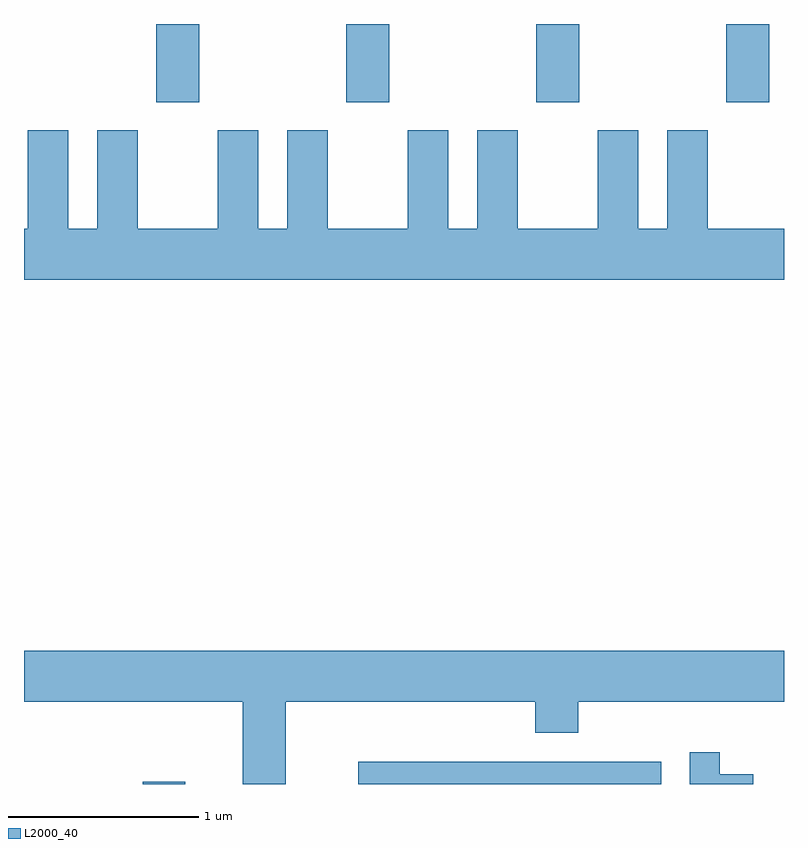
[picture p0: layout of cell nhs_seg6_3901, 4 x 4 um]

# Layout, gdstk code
import gdstk
lib = gdstk.Library(unit=1e-6, precision=1e-09)
def R(c, l, rs):  # rectangles x0, y0, x1, y1
    for r in rs: c.add(gdstk.rectangle(r[:2], r[2:], *l))
def A(c, l, x, y, w, h, nx, ny, dx, dy):  # array of equal rectangles
    R(c, l, [(x+i*dx, y+j*dy, x+i*dx+w, y+j*dy+h) for i in range(nx) for j in range(ny)])
def P(c, l, *ps):  # polygons
    for p in ps: c.add(gdstk.Polygon(p, *l))
L2000_40 = (2000, 40)

nhs_seg6_3901 = lib.new_cell('nhs_seg6_3901')
A(nhs_seg6_3901, L2000_40, 302.306, 1659.751, 0.228, 0.411, 4, 1, 1, 0)
R(nhs_seg6_3901, L2000_40, [(302.236,1656.162,302.459,1656.174), (303.371,1656.162,304.964,1656.279)])
P(nhs_seg6_3901, L2000_40, [(305.611,1659.084),(305.209,1659.084),(305.209,1659.604),(304.996,1659.604),(304.996,1659.084),(304.844,1659.084),(304.844,1659.604),(304.631,1659.604),(304.631,1659.084),(304.209,1659.084),(304.209,1659.604),(303.996,1659.604),(303.996,1659.084),(303.844,1659.084),(303.844,1659.604),(303.631,1659.604),(303.631,1659.084),(303.209,1659.084),(303.209,1659.604),(302.996,1659.604),(302.996,1659.084),(302.844,1659.084),(302.844,1659.604),(302.631,1659.604),(302.631,1659.084),(302.209,1659.084),(302.209,1659.604),(301.996,1659.604),(301.996,1659.084),(301.844,1659.084),(301.844,1659.604),(301.631,1659.604),(301.631,1659.084),(301.611,1659.084),(301.611,1658.816),(305.611,1658.816)],
  [(302.989,1656.596),(304.301,1656.596),(304.301,1656.431),(304.529,1656.431),(304.529,1656.596),(305.611,1656.596),(305.611,1656.864),(301.611,1656.864),(301.611,1656.596),(302.761,1656.596),(302.761,1656.162),(302.989,1656.162)],
  [(305.449,1656.214),(305.274,1656.214),(305.274,1656.328),(305.116,1656.328),(305.116,1656.162),(305.449,1656.162)])

lib.write_gds('nhs_seg6_3901.gds')
